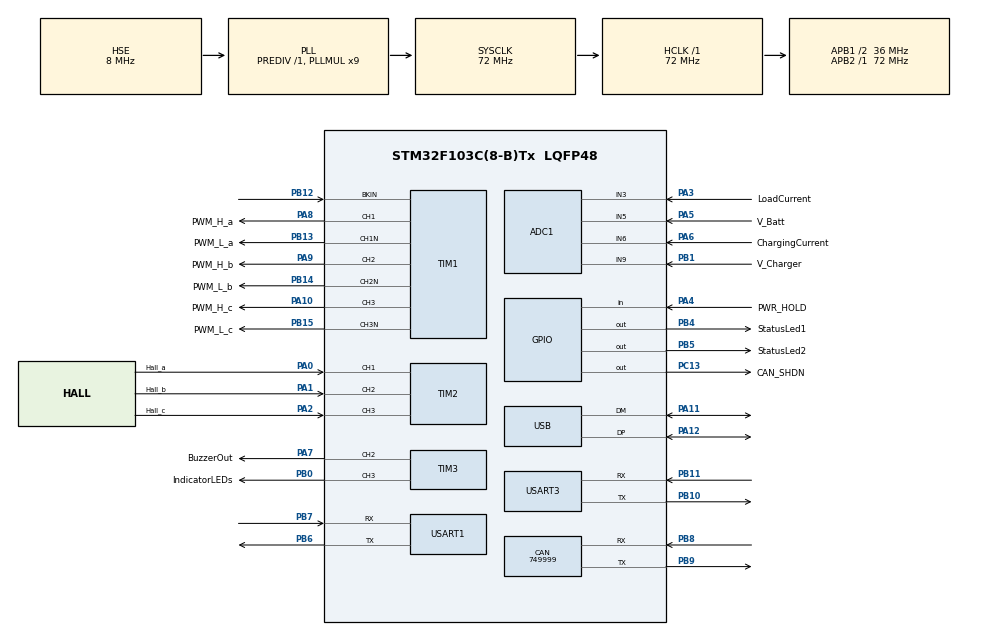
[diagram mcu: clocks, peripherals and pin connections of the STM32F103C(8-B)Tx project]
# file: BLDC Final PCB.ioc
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ADC1.Channel-0\#ChannelRegularConversion=ADC_CHANNEL_5
ADC1.EnableInjectedConversion=ENABLE
ADC1.InjNumberOfConversion=0
ADC1.NbrOfConversionFlag=1
ADC1.Rank-0\#ChannelRegularConversion=1
ADC1.SamplingTime-0\#ChannelRegularConversion=ADC_SAMPLETIME_1CYCLE_5
ADC1.master=1
CAN.CalculateBaudRate=749999
CAN.CalculateTimeBit=1333
CAN.CalculateTimeQuantum=444.44444444444446
Dma.Request0=USART1_RX
Dma.Request1=USART1_TX
Dma.Request2=TIM1_CH1
Dma.Request3=TIM1_CH2
Dma.Request4=TIM1_CH3
Dma.TIM1_CH1.2.Direction=DMA_MEMORY_TO_PERIPH
Dma.TIM1_CH1.2.Instance=DMA1_Channel2
Dma.TIM1_CH1.2.MemDataAlignment=DMA_MDATAALIGN_HALFWORD
Dma.TIM1_CH1.2.MemInc=DMA_MINC_ENABLE
Dma.TIM1_CH1.2.Mode=DMA_NORMAL
Dma.TIM1_CH1.2.PeriphDataAlignment=DMA_PDATAALIGN_HALFWORD
Dma.TIM1_CH1.2.PeriphInc=DMA_PINC_DISABLE
Dma.TIM1_CH1.2.Priority=DMA_PRIORITY_VERY_HIGH
Dma.TIM1_CH2.3.Direction=DMA_MEMORY_TO_PERIPH
Dma.TIM1_CH2.3.Instance=DMA1_Channel3
Dma.TIM1_CH2.3.MemDataAlignment=DMA_MDATAALIGN_HALFWORD
Dma.TIM1_CH2.3.MemInc=DMA_MINC_ENABLE
Dma.TIM1_CH2.3.Mode=DMA_NORMAL
Dma.TIM1_CH2.3.PeriphDataAlignment=DMA_PDATAALIGN_HALFWORD
Dma.TIM1_CH2.3.PeriphInc=DMA_PINC_DISABLE
Dma.TIM1_CH2.3.Priority=DMA_PRIORITY_VERY_HIGH
Dma.TIM1_CH3.4.Direction=DMA_MEMORY_TO_PERIPH
Dma.TIM1_CH3.4.Instance=DMA1_Channel6
Dma.TIM1_CH3.4.MemDataAlignment=DMA_MDATAALIGN_HALFWORD
Dma.TIM1_CH3.4.MemInc=DMA_MINC_ENABLE
Dma.TIM1_CH3.4.Mode=DMA_NORMAL
Dma.TIM1_CH3.4.PeriphDataAlignment=DMA_PDATAALIGN_HALFWORD
Dma.TIM1_CH3.4.PeriphInc=DMA_PINC_DISABLE
Dma.TIM1_CH3.4.Priority=DMA_PRIORITY_VERY_HIGH
Dma.USART1_RX.0.Direction=DMA_PERIPH_TO_MEMORY
Dma.USART1_RX.0.Instance=DMA1_Channel5
Dma.USART1_RX.0.MemDataAlignment=DMA_MDATAALIGN_BYTE
Dma.USART1_RX.0.MemInc=DMA_MINC_ENABLE
Dma.USART1_RX.0.Mode=DMA_NORMAL
Dma.USART1_RX.0.PeriphDataAlignment=DMA_PDATAALIGN_BYTE
Dma.USART1_RX.0.PeriphInc=DMA_PINC_DISABLE
Dma.USART1_RX.0.Priority=DMA_PRIORITY_LOW
Dma.USART1_TX.1.Direction=DMA_MEMORY_TO_PERIPH
Dma.USART1_TX.1.Instance=DMA1_Channel4
Dma.USART1_TX.1.MemDataAlignment=DMA_MDATAALIGN_BYTE
Dma.USART1_TX.1.MemInc=DMA_MINC_ENABLE
Dma.USART1_TX.1.Mode=DMA_NORMAL
Dma.USART1_TX.1.PeriphDataAlignment=DMA_PDATAALIGN_BYTE
Dma.USART1_TX.1.PeriphInc=DMA_PINC_DISABLE
Dma.USART1_TX.1.Priority=DMA_PRIORITY_LOW
Mcu.Family=STM32F1
Mcu.Name=STM32F103C(8-B)Tx
Mcu.Package=LQFP48
NVIC.CAN1_RX1_IRQn=true\:0\:0\:false\:false\:true\:true\:true\:true
NVIC.CAN1_SCE_IRQn=true\:0\:0\:false\:false\:true\:true\:true\:true
NVIC.DMA1_Channel2_IRQn=true\:0\:0\:false\:false\:true\:false\:true\:true
NVIC.DMA1_Channel3_IRQn=true\:0\:0\:false\:false\:true\:false\:true\:true
NVIC.DMA1_Channel4_IRQn=true\:0\:0\:false\:false\:true\:false\:true\:true
NVIC.DMA1_Channel5_IRQn=true\:0\:0\:false\:false\:true\:false\:true\:true
NVIC.DMA1_Channel6_IRQn=true\:0\:0\:false\:false\:true\:false\:true\:true
NVIC.PriorityGroup=NVIC_PRIORITYGROUP_4
NVIC.TIM1_BRK_IRQn=true\:0\:0\:false\:false\:true\:true\:true\:true
NVIC.TIM1_CC_IRQn=true\:0\:0\:false\:false\:true\:true\:true\:true
NVIC.TIM1_TRG_COM_IRQn=true\:0\:0\:false\:false\:true\:true\:true\:true
NVIC.TIM1_UP_IRQn=true\:0\:0\:false\:false\:true\:true\:true\:true
NVIC.TIM2_IRQn=true\:0\:0\:false\:false\:true\:true\:true\:true
NVIC.TIM3_IRQn=true\:0\:0\:false\:false\:true\:true\:true\:true
NVIC.USART1_IRQn=true\:0\:0\:false\:false\:true\:true\:true\:true
NVIC.USART3_IRQn=true\:0\:0\:true\:false\:true\:true\:true\:true
NVIC.USB_HP_CAN1_TX_IRQn=true\:0\:0\:false\:false\:true\:true\:true\:true
NVIC.USB_LP_CAN1_RX0_IRQn=true\:0\:0\:false\:false\:true\:true\:true\:true
PA0-WKUP.GPIO_Label=Hall_a
PA0-WKUP.Signal=S_TIM2_CH1_ETR
PA1.GPIO_Label=Hall_b
PA1.Signal=S_TIM2_CH2
PA10.GPIO_Label=PWM_H_c
PA10.Signal=S_TIM1_CH3
PA11.Mode=Device
PA11.Signal=USB_DM
PA12.Mode=Device
PA12.Signal=USB_DP
PA13.Mode=Serial_Wire
PA13.Signal=SYS_JTMS-SWDIO
PA14.Mode=Serial_Wire
PA14.Signal=SYS_JTCK-SWCLK
PA2.GPIO_Label=Hall_c
PA2.Signal=S_TIM2_CH3
PA3.GPIO_Label=LoadCurrent
PA3.Signal=ADCx_IN3
PA4.GPIO_Label=PWR_HOLD
PA4.Signal=GPIO_Input
PA5.GPIO_Label=V_Batt
PA5.Signal=ADCx_IN5
PA6.GPIO_Label=ChargingCurrent
PA6.Signal=ADCx_IN6
PA7.GPIO_Label=BuzzerOut
PA7.Signal=S_TIM3_CH2
PA8.GPIO_Label=PWM_H_a
PA8.Signal=S_TIM1_CH1
PA9.GPIO_Label=PWM_H_b
PA9.Signal=S_TIM1_CH2
PB0.GPIO_Label=IndicatorLEDs
PB0.Signal=S_TIM3_CH3
PB1.GPIO_Label=V_Charger
PB1.Signal=ADCx_IN9
PB10.Mode=Asynchronous
PB10.Signal=USART3_TX
PB11.Mode=Asynchronous
PB11.Signal=USART3_RX
PB12.Mode=Activate-Break-Input
PB12.Signal=TIM1_BKIN
PB13.GPIO_Label=PWM_L_a
PB13.Mode=PWM Generation1 CH1 CH1N
PB13.Signal=TIM1_CH1N
PB14.GPIO_Label=PWM_L_b
PB14.Mode=PWM Generation2 CH2 CH2N
PB14.Signal=TIM1_CH2N
PB15.GPIO_Label=PWM_L_c
PB15.Mode=PWM Generation3 CH3 CH3N
PB15.Signal=TIM1_CH3N
PB4.GPIO_Label=StatusLed1
PB4.Signal=GPIO_Output
PB5.GPIO_Label=StatusLed2
PB5.Signal=GPIO_Output
PB6.Mode=Asynchronous
PB6.Signal=USART1_TX
PB7.Mode=Asynchronous
PB7.Signal=USART1_RX
PB8.Mode=CAN_Activate
PB8.Signal=CAN_RX
PB9.Mode=CAN_Activate
PB9.Signal=CAN_TX
PC13-TAMPER-RTC.GPIO_Label=CAN_SHDN
PC13-TAMPER-RTC.Signal=GPIO_Output
PD0-OSC_IN.Mode=HSE-External-Oscillator
PD0-OSC_IN.Signal=RCC_OSC_IN
PD1-OSC_OUT.Mode=HSE-External-Oscillator
PD1-OSC_OUT.Signal=RCC_OSC_OUT
ProjectManager.HeapSize=0x200
ProjectManager.StackSize=0x400
ProjectManager.TargetToolchain=MDK-ARM V5.32
RCC.ADCPresc=RCC_ADCPCLK2_DIV6
RCC.AHBFreq_Value=72000000
RCC.APB1CLKDivider=RCC_HCLK_DIV2
RCC.APB1Freq_Value=36000000
RCC.APB1TimFreq_Value=72000000
RCC.APB2Freq_Value=72000000
RCC.APB2TimFreq_Value=72000000
RCC.HCLKFreq_Value=72000000
RCC.PLLMUL=RCC_PLL_MUL9
RCC.PLLSourceVirtual=RCC_PLLSOURCE_HSE
RCC.SYSCLKFreq_VALUE=72000000
RCC.SYSCLKSource=RCC_SYSCLKSOURCE_PLLCLK
RCC.USBFreq_Value=48000000
RCC.USBPrescaler=RCC_USBCLKSOURCE_PLL_DIV1_5
SH.ADCx_IN3.0=ADC1_IN3,IN3
SH.ADCx_IN5.0=ADC1_IN5,IN5
SH.ADCx_IN6.0=ADC1_IN6,IN6
SH.ADCx_IN9.0=ADC1_IN9,IN9
SH.S_TIM1_CH1.0=TIM1_CH1,PWM Generation1 CH1 CH1N
SH.S_TIM1_CH2.0=TIM1_CH2,PWM Generation2 CH2 CH2N
SH.S_TIM1_CH3.0=TIM1_CH3,PWM Generation3 CH3 CH3N
SH.S_TIM2_CH1_ETR.0=TIM2_CH1,Xored_Inputs_Hall_Sensor_Interface
SH.S_TIM2_CH2.0=TIM2_CH2,Xored_Inputs_Hall_Sensor_Interface
SH.S_TIM2_CH3.0=TIM2_CH3,Xored_Inputs_Hall_Sensor_Interface
SH.S_TIM3_CH2.0=TIM3_CH2,PWM Generation2 CH2
SH.S_TIM3_CH3.0=TIM3_CH3,PWM Generation3 CH3
TIM1.Channel-PWM\ Generation1\ CH1\ CH1N=TIM_CHANNEL_1
TIM1.Channel-PWM\ Generation2\ CH2\ CH2N=TIM_CHANNEL_2
TIM1.Channel-PWM\ Generation3\ CH3\ CH3N=TIM_CHANNEL_3
TIM1.DeadTime=10
TIM1.OCMode_PWM-PWM\ Generation1\ CH1\ CH1N=TIM_OCMODE_PWM1
TIM1.OCNIdleState_1=TIM_OCNIDLESTATE_RESET
TIM1.OCNIdleState_2=TIM_OCNIDLESTATE_RESET
TIM1.OCNIdleState_3=TIM_OCNIDLESTATE_RESET
TIM1.OCNPolarity_1=TIM_OCNPOLARITY_HIGH
TIM1.OCNPolarity_2=TIM_OCNPOLARITY_HIGH
TIM1.OCNPolarity_3=TIM_OCNPOLARITY_HIGH
TIM1.OCPolarity_1=TIM_OCPOLARITY_HIGH
TIM1.TIM_MasterSlaveMode=TIM_MASTERSLAVEMODE_DISABLE
TIM2.AutoReloadPreload=TIM_AUTORELOAD_PRELOAD_DISABLE
TIM2.Commutation_Delay=1
TIM2.IC1Filter=12
TIM3.Channel-PWM\ Generation1\ CH1=TIM_CHANNEL_1
TIM3.Channel-PWM\ Generation2\ CH2=TIM_CHANNEL_2
TIM3.Channel-PWM\ Generation3\ CH3=TIM_CHANNEL_3
USART1.VirtualMode=VM_ASYNC
USART3.VirtualMode=VM_ASYNC
VP_CRC_VS_CRC.Mode=CRC_Activate
VP_TIM1_VS_ClockSourceINT.Mode=Internal
VP_TIM1_VS_ClockSourceITR.Mode=TriggerSource_ITR1
VP_TIM1_VS_ControllerModeReset.Mode=Reset Mode
VP_TIM2_VS_ClockSourceINT.Mode=Internal
VP_TIM3_VS_ClockSourceINT.Mode=Internal
VP_TIM3_VS_ClockSourceITR.Mode=TriggerSource_ITR0
VP_TIM3_VS_ControllerModeTrigger.Mode=Trigger Mode
board=custom

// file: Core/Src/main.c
/* USER CODE BEGIN Header */
/**
  ******************************************************************************
  * @file           : main.c
  * @brief          : Main program body
  ******************************************************************************
  * @attention
  *
  * Copyright (c) 2024 STMicroelectronics.
  * All rights reserved.
  *
  * This software is licensed under terms that can be found in the LICENSE file
  * in the root directory of this software component.
  * If no LICENSE file comes with this software, it is provided AS-IS.
  *
  ******************************************************************************
  */
/* USER CODE END Header */
#include "main.h"
#include "..\..\JBU_Lib\Inc\commutator.h"
#include "..\..\JBU_Lib\Inc\voltageCurrent.h"
#include "..\..\JBU_Lib\Inc\powerHold.h"
#include "..\..\JBU_Lib\Inc\onBoardRGBLed.h"
#include "..\..\JBU_Lib\Inc\test.h"
#include "..\..\JBU_Lib\Inc\defines.h"
#include "..\..\JBU_Lib\Inc\hallSensor.h"
#include "..\..\JBU_Lib\Inc\controllerPID.h"

ADC_HandleTypeDef hadc1;

CAN_HandleTypeDef hcan;

CRC_HandleTypeDef hcrc;

TIM_HandleTypeDef htim1;
TIM_HandleTypeDef htim2;
TIM_HandleTypeDef htim3;
DMA_HandleTypeDef hdma_tim1_ch1;
DMA_HandleTypeDef hdma_tim1_ch2;
DMA_HandleTypeDef hdma_tim1_ch3;

UART_HandleTypeDef huart1;
UART_HandleTypeDef huart3;
DMA_HandleTypeDef hdma_usart1_rx;
DMA_HandleTypeDef hdma_usart1_tx;

PCD_HandleTypeDef hpcd_USB_FS;

/* USER CODE BEGIN PV */
int counter = 0;
uint32_t commutePosition = 0x0000;
uint32_t prevMicroSec = 0;
uint32_t currMicroSec = 0;
double hallPeriod  = 0;
uint32_t tempHallPeriod = 0;
int commutation = 0;
int direction = 1; 							// 1= CW , 2 = CCW
uint32_t upTimeMS = 0;

Events event; // struct for events

PowerDetails powerDetails; //struct for motor power details

PID_Controller pid;

int testDutyCycle = 0;

//typedef struct power1 Power;

float battVoltage = 0;
float loadCurrent = 0;
float chrgVoltage = 0;
float chrgCurrent = 0;

int bitIndex = 16;
uint16_t RGBpwmData[24];

/* USER CODE END PV */

void SystemClock_Config(void);
static void MX_GPIO_Init(void);
static void MX_DMA_Init(void);
static void MX_TIM2_Init(void);
static void MX_USART1_UART_Init(void);
static void MX_TIM1_Init(void);
static void MX_CAN_Init(void);
static void MX_USART3_UART_Init(void);
static void MX_ADC1_Init(void);
static void MX_TIM3_Init(void);
static void MX_CRC_Init(void);
static void MX_USB_PCD_Init(void);

/* USER CODE BEGIN 0 */
void HAL_TIMEx_CommutCallback(TIM_HandleTypeDef *htim)
	{
		TIM2->CCR1 = 1;
		uint8_t hall_U, hall_V, hall_W;

		hall_U = HAL_GPIO_ReadPin(Hall_U_GPIO_Port, Hall_U_Pin);
		hall_V = HAL_GPIO_ReadPin(Hall_V_GPIO_Port, Hall_V_Pin);
		hall_W = HAL_GPIO_ReadPin(Hall_W_GPIO_Port, Hall_W_Pin);

		//HallStatus = (hall_U<<2) | (hall_V<<1) | hall_W; //Hall status Convert to  bit number
		//HallStatus = (hall_V<<2) | (hall_W<<1) | hall_U; //Hall status Convert to  bit number
		//HallStatus = (hall_W<<2) | (hall_U<<1) | hall_V; //Hall status Convert to  bit number
		HallStatus = (hall_W<<2) | (hall_V<<1) | hall_U; //Hall status Convert to  bit number*
		//HallStatus = (hall_U<<2) | (hall_W<<1) | hall_V; //Hall status Convert to  bit number
		//HallStatus = (hall_V<<2) | (hall_U<<1) | hall_W; //Hall status Convert to  bit number

		commutePosition = CommuteTable[HallStatus];

		counter++;		//Trigger count.
		Commutation(commutePosition, htim1, direction, testDutyCycle/*pid.output*/);
		commutation++;
		//loadCurrent = SenseLoadCurrent(hadc1);
}

void HAL_TIM_PeriodElapsedCallback(TIM_HandleTypeDef *htim)
	{
		if(htim == &htim2)
		{
		event.upTimeMilli = HAL_GetTick();
		uint32_t sysValue = SysTick->VAL;

		if(event.upTimeMilli != HAL_GetTick())
			{
				event.upTimeMilli = HAL_GetTick();
				sysValue = SysTick->VAL;
			}
			event.upTimeMicro = event.upTimeMilli * 1000 - sysValue/((SysTick->LOAD + 1)/1000);
			event.currHallEvent = event.upTimeMicro;
			event.hallStepPeriodMicro = event.currHallEvent - event.prevHallEvent;
			event.prevHallEvent = event.currHallEvent;
		}

	}

//----------------------------------------------------

//-----------------------------------------------------
/* USER CODE END 0 */

int main(void)

{

  /* MCU Configuration--------------------------------------------------------*/

  /* Reset of all peripherals, Initializes the Flash interface and the Systick. */
  HAL_Init();

  /* Configure the system clock */
  SystemClock_Config();

  /* Initialize all configured peripherals */
  MX_GPIO_Init();
  MX_DMA_Init();
  MX_TIM2_Init();
  MX_USART1_UART_Init();
  MX_TIM1_Init();
  MX_CAN_Init();
  MX_USART3_UART_Init();
  MX_ADC1_Init();
  MX_TIM3_Init();
  MX_CRC_Init();
  MX_USB_PCD_Init();

  /* USER CODE BEGIN 2 */
	//HAL_GPIO_WritePin(PWR_HOLD_GPIO_Port,PWR_HOLD_Pin,GPIO_PIN_SET); //Power hold pin
	powerHold();
	statusOnRGB(htim3, 255, 0, 0, RGBpwmData); // status led

	HAL_TIMEx_HallSensor_Start_IT(&htim2);
	HAL_TIM_Base_Start_IT(&htim2);
	HAL_TIMEx_ConfigCommutEvent_IT(&htim1, TIM_TS_ITR1, TIM_COMMUTATION_TRGI);
	HAL_TIM_Base_Start_IT(&htim1);

	PID_Controller_Init(&pid);

	TIM1->CR1 = 1;
	TIM1->CR2 = 0;
	TIM1->ARR  = 0x00000E00; //AUTO RELOAD VALUE;
	TIM1->CCR1 = 0x000004A0; //COMPARE VALUE(Dutycycle);
	TIM1->CCR2 = 0x000004A0; //COMPARE VALUE(Dutycycle);
	TIM1->CCR3 = 0x000004A0; //COMPARE VALUE(Dutycycle);
	TIM1->BDTR = 0x0000A000; //MAIN OUTPUT ENABLE;
	TIM1->BDTR|= 0x0000A010; //ADDING DEAD TIME 10;
	TIM1->CR2 |= 0x00000005; //CCPC, CCUS = 1 FOR COM EVENT.
	//TIM1-> CCER |=(1 << 11) | (1 << 7) | (1 << 3);		//FOR IR2103S Low side inverted input.

	TIM2->PSC  = 0x0000FFFF; //FOR MAXIMUM PERIOD;
	TIM2->ARR  = 0x0000FFFF; //FOR MAXIMUM PERIOD;
	TIM2->CCR2 = 0x00000001; //CCR2(COMMUTATION DELAY) SHOULD BE >0;

  /* USER CODE END 2 */
/* Infinite loop */
  /* USER CODE BEGIN WHILE */
  while (1)
  {
		powerDetails.motorRPM = CalcRPM(event.hallStepPeriodMicro);// RPM calculation
		PID_Controller_Update(&pid, powerDetails.targetRPM, powerDetails.motorRPM);

		//targetSpeed(pid.output); // Applying PID output as duty cycle.

		//printf("JBU BLDC\n");  //printf through SWV will prevent normal startup

		upTimeMS = HAL_GetTick();
    /* USER CODE END WHILE */
		HAL_GPIO_TogglePin(CAN_SHDN_GPIO_Port, CAN_SHDN_Pin);
		//testSpeed();
		HAL_Delay(1);

		powerDetails.motorRPM = CalcRPM(event.hallStepPeriodMicro);// RPM calculation
		PID_Controller_Update(&pid, powerDetails.targetRPM, powerDetails.motorRPM); //PID control

		//targetSpeed(pid.output); // Applying PID output as duty cycle.

		statusOnRGB(htim3, 5, 0, 0, RGBpwmData);
		powerDetails.loadCurrent = SenseLoadCurrent(hadc1);
		powerDetails.batteryVoltage = SenseBattVoltage(hadc1);
		powerDetails.chrgCurrent = SenseChrgCurrent(hadc1);
		powerDetails.chargerVoltage = SenseChrgVoltage(hadc1);

		//loadCurrent = SenseLoadCurrent(hadc1);
		//battVoltage = SenseBattVoltage(hadc1);
		HAL_GPIO_TogglePin(CAN_SHDN_GPIO_Port, CAN_SHDN_Pin);
		//testSpeed();
		HAL_Delay(1);

		powerDetails.motorRPM = CalcRPM(event.hallStepPeriodMicro);// RPM calculation
		PID_Controller_Update(&pid, powerDetails.targetRPM, powerDetails.motorRPM); //PID control

		//targetSpeed(pid.output); // Applying PID output as duty cycle.

		statusOnRGB(htim3, 0, 5, 0, RGBpwmData);
		//loadCurrent = SenseLoadCurrent(hadc1);
		//chrgCurrent = SenseChrgCurrent(hadc1);
		//chrgVoltage = SenseChrgVoltage(hadc1);
		HAL_GPIO_TogglePin(CAN_SHDN_GPIO_Port, CAN_SHDN_Pin);
		//testSpeed();
		HAL_Delay(1);

		statusOnRGB(htim3, 0, 0, 5, RGBpwmData);

		/* USER CODE END WHILE */

  }
}

void SystemClock_Config(void)
{
  RCC_OscInitTypeDef RCC_OscInitStruct = {0};
  RCC_ClkInitTypeDef RCC_ClkInitStruct = {0};
  RCC_PeriphCLKInitTypeDef PeriphClkInit = {0};

  /** Initializes the RCC Oscillators according to the specified parameters
  * in the RCC_OscInitTypeDef structure.
  */
  RCC_OscInitStruct.OscillatorType = RCC_OSCILLATORTYPE_HSE;
  RCC_OscInitStruct.HSEState = RCC_HSE_ON;
  RCC_OscInitStruct.HSEPredivValue = RCC_HSE_PREDIV_DIV1;
  RCC_OscInitStruct.HSIState = RCC_HSI_ON;
  RCC_OscInitStruct.PLL.PLLState = RCC_PLL_ON;
  RCC_OscInitStruct.PLL.PLLSource = RCC_PLLSOURCE_HSE;
  RCC_OscInitStruct.PLL.PLLMUL = RCC_PLL_MUL9;
  if (HAL_RCC_OscConfig(&RCC_OscInitStruct) != HAL_OK)
  {
    Error_Handler();
  }

  /** Initializes the CPU, AHB and APB buses clocks
  */
  RCC_ClkInitStruct.ClockType = RCC_CLOCKTYPE_HCLK|RCC_CLOCKTYPE_SYSCLK
                              |RCC_CLOCKTYPE_PCLK1|RCC_CLOCKTYPE_PCLK2;
  RCC_ClkInitStruct.SYSCLKSource = RCC_SYSCLKSOURCE_PLLCLK;
  RCC_ClkInitStruct.AHBCLKDivider = RCC_SYSCLK_DIV1;
  RCC_ClkInitStruct.APB1CLKDivider = RCC_HCLK_DIV2;
  RCC_ClkInitStruct.APB2CLKDivider = RCC_HCLK_DIV1;

  if (HAL_RCC_ClockConfig(&RCC_ClkInitStruct, FLASH_LATENCY_2) != HAL_OK)
  {
    Error_Handler();
  }
  PeriphClkInit.PeriphClockSelection = RCC_PERIPHCLK_ADC|RCC_PERIPHCLK_USB;
  PeriphClkInit.AdcClockSelection = RCC_ADCPCLK2_DIV6;
  PeriphClkInit.UsbClockSelection = RCC_USBCLKSOURCE_PLL_DIV1_5;
  if (HAL_RCCEx_PeriphCLKConfig(&PeriphClkInit) != HAL_OK)
  {
    Error_Handler();
  }
}

static void MX_ADC1_Init(void)
{

  //ADC_ChannelConfTypeDef sConfig = {0};

  /** Common config
  */
  hadc1.Instance = ADC1;
  hadc1.Init.ScanConvMode = ADC_SCAN_ENABLE;
  hadc1.Init.ContinuousConvMode = ENABLE;
  hadc1.Init.DiscontinuousConvMode = DISABLE;
  hadc1.Init.ExternalTrigConv = ADC_SOFTWARE_START;
  hadc1.Init.DataAlign = ADC_DATAALIGN_RIGHT;
  hadc1.Init.NbrOfConversion = 1;
  if (HAL_ADC_Init(&hadc1) != HAL_OK)
  {
    Error_Handler();
  }

  /** Configure Regular Channel
  */
  /*sConfig.Channel = ADC_CHANNEL_5;
  sConfig.Rank = ADC_REGULAR_RANK_1;
  sConfig.SamplingTime = ADC_SAMPLETIME_1CYCLE_5;
  if (HAL_ADC_ConfigChannel(&hadc1, &sConfig) != HAL_OK)
  {
    Error_Handler();
  }*/

}

static void MX_CAN_Init(void)
{

  hcan.Instance = CAN1;
  hcan.Init.Prescaler = 16;
  hcan.Init.Mode = CAN_MODE_NORMAL;
  hcan.Init.SyncJumpWidth = CAN_SJW_1TQ;
  hcan.Init.TimeSeg1 = CAN_BS1_1TQ;
  hcan.Init.TimeSeg2 = CAN_BS2_1TQ;
  hcan.Init.TimeTriggeredMode = DISABLE;
  hcan.Init.AutoBusOff = DISABLE;
  hcan.Init.AutoWakeUp = DISABLE;
  hcan.Init.AutoRetransmission = DISABLE;
  hcan.Init.ReceiveFifoLocked = DISABLE;
  hcan.Init.TransmitFifoPriority = DISABLE;
  if (HAL_CAN_Init(&hcan) != HAL_OK)
  {
    Error_Handler();
  }

}

static void MX_CRC_Init(void)
{

  hcrc.Instance = CRC;
  if (HAL_CRC_Init(&hcrc) != HAL_OK)
  {
    Error_Handler();
  }

}

static void MX_TIM1_Init(void)
{

  TIM_ClockConfigTypeDef sClockSourceConfig = {0};
  TIM_SlaveConfigTypeDef sSlaveConfig = {0};
  TIM_MasterConfigTypeDef sMasterConfig = {0};
  TIM_OC_InitTypeDef sConfigOC = {0};
  TIM_BreakDeadTimeConfigTypeDef sBreakDeadTimeConfig = {0};

  htim1.Instance = TIM1;
  htim1.Init.Prescaler = 0;
  htim1.Init.CounterMode = TIM_COUNTERMODE_UP;
  htim1.Init.Period = 65535;
  htim1.Init.ClockDivision = TIM_CLOCKDIVISION_DIV1;
  htim1.Init.RepetitionCounter = 0;
  htim1.Init.AutoReloadPreload = TIM_AUTORELOAD_PRELOAD_DISABLE;
  if (HAL_TIM_Base_Init(&htim1) != HAL_OK)
  {
    Error_Handler();
  }
  sClockSourceConfig.ClockSource = TIM_CLOCKSOURCE_INTERNAL;
  if (HAL_TIM_ConfigClockSource(&htim1, &sClockSourceConfig) != HAL_OK)
  {
    Error_Handler();
  }
  if (HAL_TIM_PWM_Init(&htim1) != HAL_OK)
  {
    Error_Handler();
  }
  sSlaveConfig.SlaveMode = TIM_SLAVEMODE_RESET;
  sSlaveConfig.InputTrigger = TIM_TS_ITR1;
  if (HAL_TIM_SlaveConfigSynchro(&htim1, &sSlaveConfig) != HAL_OK)
  {
    Error_Handler();
  }
  sMasterConfig.MasterOutputTrigger = TIM_TRGO_RESET;
  sMasterConfig.MasterSlaveMode = TIM_MASTERSLAVEMODE_DISABLE;
  if (HAL_TIMEx_MasterConfigSynchronization(&htim1, &sMasterConfig) != HAL_OK)
  {
    Error_Handler();
  }
  sConfigOC.OCMode = TIM_OCMODE_PWM1;
  sConfigOC.Pulse = 0;
	//************************************
	#ifdef TIMER_OUTPUT_ACTIVE_LOW
	sConfigOC.OCPolarity = TIM_OCPOLARITY_LOW;
  sConfigOC.OCNPolarity = TIM_OCNPOLARITY_LOW;
  sConfigOC.OCFastMode = TIM_OCFAST_DISABLE;
  sConfigOC.OCIdleState = TIM_OCIDLESTATE_SET;
  sConfigOC.OCNIdleState = TIM_OCNIDLESTATE_SET;
	#else
  sConfigOC.OCPolarity = TIM_OCPOLARITY_HIGH;
  sConfigOC.OCNPolarity = TIM_OCNPOLARITY_HIGH;
  sConfigOC.OCFastMode = TIM_OCFAST_DISABLE;
  sConfigOC.OCIdleState = TIM_OCIDLESTATE_RESET;
  sConfigOC.OCNIdleState = TIM_OCNIDLESTATE_RESET;
	#endif
	//*************************************
  if (HAL_TIM_PWM_ConfigChannel(&htim1, &sConfigOC, TIM_CHANNEL_1) != HAL_OK)
  {
    Error_Handler();
  }
  if (HAL_TIM_PWM_ConfigChannel(&htim1, &sConfigOC, TIM_CHANNEL_2) != HAL_OK)
  {
    Error_Handler();
  }
  if (HAL_TIM_PWM_ConfigChannel(&htim1, &sConfigOC, TIM_CHANNEL_3) != HAL_OK)
  {
    Error_Handler();
  }
  sBreakDeadTimeConfig.OffStateRunMode = TIM_OSSR_DISABLE;
  sBreakDeadTimeConfig.OffStateIDLEMode = TIM_OSSI_DISABLE;
  sBreakDeadTimeConfig.LockLevel = TIM_LOCKLEVEL_OFF;
  sBreakDeadTimeConfig.DeadTime = 10;
  sBreakDeadTimeConfig.BreakState = TIM_BREAK_ENABLE;
  sBreakDeadTimeConfig.BreakPolarity = TIM_BREAKPOLARITY_HIGH;
  sBreakDeadTimeConfig.AutomaticOutput = TIM_AUTOMATICOUTPUT_DISABLE;
  if (HAL_TIMEx_ConfigBreakDeadTime(&htim1, &sBreakDeadTimeConfig) != HAL_OK)
  {
    Error_Handler();
  }
  HAL_TIM_MspPostInit(&htim1);

}

static void MX_TIM2_Init(void)
{

  TIM_ClockConfigTypeDef sClockSourceConfig = {0};
  TIM_HallSensor_InitTypeDef sConfig = {0};
  TIM_MasterConfigTypeDef sMasterConfig = {0};

  htim2.Instance = TIM2;
  htim2.Init.Prescaler = 0;
  htim2.Init.CounterMode = TIM_COUNTERMODE_UP;
  htim2.Init.Period = 65535;
  htim2.Init.ClockDivision = TIM_CLOCKDIVISION_DIV1;
  htim2.Init.AutoReloadPreload = TIM_AUTORELOAD_PRELOAD_DISABLE;
  if (HAL_TIM_Base_Init(&htim2) != HAL_OK)
  {
    Error_Handler();
  }
  sClockSourceConfig.ClockSource = TIM_CLOCKSOURCE_INTERNAL;
  if (HAL_TIM_ConfigClockSource(&htim2, &sClockSourceConfig) != HAL_OK)
  {
    Error_Handler();
  }
  sConfig.IC1Polarity = TIM_ICPOLARITY_RISING;
  sConfig.IC1Prescaler = TIM_ICPSC_DIV1;
  sConfig.IC1Filter = 12;
  sConfig.Commutation_Delay = 10;
  if (HAL_TIMEx_HallSensor_Init(&htim2, &sConfig) != HAL_OK)
  {
    Error_Handler();
  }
  sMasterConfig.MasterOutputTrigger = TIM_TRGO_OC2REF;
  sMasterConfig.MasterSlaveMode = TIM_MASTERSLAVEMODE_DISABLE;
  if (HAL_TIMEx_MasterConfigSynchronization(&htim2, &sMasterConfig) != HAL_OK)
  {
    Error_Handler();
  }

}

static void MX_TIM3_Init(void)
{

  TIM_ClockConfigTypeDef sClockSourceConfig = {0};
  TIM_SlaveConfigTypeDef sSlaveConfig = {0};
  TIM_MasterConfigTypeDef sMasterConfig = {0};
  TIM_OC_InitTypeDef sConfigOC = {0};

  htim3.Instance = TIM3;
  htim3.Init.Prescaler = 0;
  htim3.Init.CounterMode = TIM_COUNTERMODE_UP;
  htim3.Init.Period = 65535;
  htim3.Init.ClockDivision = TIM_CLOCKDIVISION_DIV1;
  htim3.Init.AutoReloadPreload = TIM_AUTORELOAD_PRELOAD_DISABLE;
  if (HAL_TIM_Base_Init(&htim3) != HAL_OK)
  {
    Error_Handler();
  }
  sClockSourceConfig.ClockSource = TIM_CLOCKSOURCE_INTERNAL;
  if (HAL_TIM_ConfigClockSource(&htim3, &sClockSourceConfig) != HAL_OK)
  {
    Error_Handler();
  }
  if (HAL_TIM_PWM_Init(&htim3) != HAL_OK)
  {
    Error_Handler();
  }
  sSlaveConfig.SlaveMode = TIM_SLAVEMODE_TRIGGER;
  sSlaveConfig.InputTrigger = TIM_TS_ITR0;
  if (HAL_TIM_SlaveConfigSynchro(&htim3, &sSlaveConfig) != HAL_OK)
  {
    Error_Handler();
  }
  sMasterConfig.MasterOutputTrigger = TIM_TRGO_RESET;
  sMasterConfig.MasterSlaveMode = TIM_MASTERSLAVEMODE_DISABLE;
  if (HAL_TIMEx_MasterConfigSynchronization(&htim3, &sMasterConfig) != HAL_OK)
  {
    Error_Handler();
  }
  sConfigOC.OCMode = TIM_OCMODE_PWM1;
  sConfigOC.Pulse = 0;
  sConfigOC.OCPolarity = TIM_OCPOLARITY_HIGH;
  sConfigOC.OCFastMode = TIM_OCFAST_DISABLE;
  if (HAL_TIM_PWM_ConfigChannel(&htim3, &sConfigOC, TIM_CHANNEL_2) != HAL_OK)
  {
    Error_Handler();
  }
  if (HAL_TIM_PWM_ConfigChannel(&htim3, &sConfigOC, TIM_CHANNEL_3) != HAL_OK)
  {
    Error_Handler();
  }
  HAL_TIM_MspPostInit(&htim3);

}

static void MX_USART1_UART_Init(void)
{

  huart1.Instance = USART1;
  huart1.Init.BaudRate = 115200;
  huart1.Init.WordLength = UART_WORDLENGTH_8B;
  huart1.Init.StopBits = UART_STOPBITS_1;
  huart1.Init.Parity = UART_PARITY_NONE;
  huart1.Init.Mode = UART_MODE_TX_RX;
  huart1.Init.HwFlowCtl = UART_HWCONTROL_NONE;
  huart1.Init.OverSampling = UART_OVERSAMPLING_16;
  if (HAL_UART_Init(&huart1) != HAL_OK)
  {
    Error_Handler();
  }

}

static void MX_USART3_UART_Init(void)
{

  huart3.Instance = USART3;
  huart3.Init.BaudRate = 115200;
  huart3.Init.WordLength = UART_WORDLENGTH_8B;
  huart3.Init.StopBits = UART_STOPBITS_1;
  huart3.Init.Parity = UART_PARITY_NONE;
  huart3.Init.Mode = UART_MODE_TX_RX;
  huart3.Init.HwFlowCtl = UART_HWCONTROL_NONE;
  huart3.Init.OverSampling = UART_OVERSAMPLING_16;
  if (HAL_UART_Init(&huart3) != HAL_OK)
  {
    Error_Handler();
  }

}

static void MX_USB_PCD_Init(void)
{

  hpcd_USB_FS.Instance = USB;
  hpcd_USB_FS.Init.dev_endpoints = 8;
  hpcd_USB_FS.Init.speed = PCD_SPEED_FULL;
  hpcd_USB_FS.Init.low_power_enable = DISABLE;
  hpcd_USB_FS.Init.lpm_enable = DISABLE;
  hpcd_USB_FS.Init.battery_charging_enable = DISABLE;
  if (HAL_PCD_Init(&hpcd_USB_FS) != HAL_OK)
  {
    Error_Handler();
  }

}

static void MX_DMA_Init(void)
{

  /* DMA controller clock enable */
  __HAL_RCC_DMA1_CLK_ENABLE();

  /* DMA interrupt init */
  /* DMA1_Channel2_IRQn interrupt configuration */
  HAL_NVIC_SetPriority(DMA1_Channel2_IRQn, 0, 0);
  HAL_NVIC_EnableIRQ(DMA1_Channel2_IRQn);
  /* DMA1_Channel3_IRQn interrupt configuration */
  HAL_NVIC_SetPriority(DMA1_Channel3_IRQn, 0, 0);
  HAL_NVIC_EnableIRQ(DMA1_Channel3_IRQn);
  /* DMA1_Channel4_IRQn interrupt configuration */
  HAL_NVIC_SetPriority(DMA1_Channel4_IRQn, 0, 0);
  HAL_NVIC_EnableIRQ(DMA1_Channel4_IRQn);
  /* DMA1_Channel5_IRQn interrupt configuration */
  HAL_NVIC_SetPriority(DMA1_Channel5_IRQn, 0, 0);
  HAL_NVIC_EnableIRQ(DMA1_Channel5_IRQn);
  /* DMA1_Channel6_IRQn interrupt configuration */
  HAL_NVIC_SetPriority(DMA1_Channel6_IRQn, 0, 0);
  HAL_NVIC_EnableIRQ(DMA1_Channel6_IRQn);

}

static void MX_GPIO_Init(void)
{
  GPIO_InitTypeDef GPIO_InitStruct = {0};

  /* GPIO Ports Clock Enable */
  __HAL_RCC_GPIOC_CLK_ENABLE();
  __HAL_RCC_GPIOD_CLK_ENABLE();
  __HAL_RCC_GPIOA_CLK_ENABLE();
  __HAL_RCC_GPIOB_CLK_ENABLE();

  /*Configure GPIO pin Output Level */
  HAL_GPIO_WritePin(CAN_SHDN_GPIO_Port, CAN_SHDN_Pin, GPIO_PIN_RESET);

  /*Configure GPIO pin Output Level */
  HAL_GPIO_WritePin(GPIOB, StatusLed1_Pin|StatusLed2_Pin, GPIO_PIN_RESET);

  /*Configure GPIO pin : CAN_SHDN_Pin */
  GPIO_InitStruct.Pin = CAN_SHDN_Pin;
  GPIO_InitStruct.Mode = GPIO_MODE_OUTPUT_PP;
  GPIO_InitStruct.Pull = GPIO_NOPULL;
  GPIO_InitStruct.Speed = GPIO_SPEED_FREQ_LOW;
  HAL_GPIO_Init(CAN_SHDN_GPIO_Port, &GPIO_InitStruct);

  /*Configure GPIO pins : StatusLed1_Pin StatusLed2_Pin */
  GPIO_InitStruct.Pin = StatusLed1_Pin|StatusLed2_Pin;
  GPIO_InitStruct.Mode = GPIO_MODE_OUTPUT_PP;
  GPIO_InitStruct.Pull = GPIO_NOPULL;
  GPIO_InitStruct.Speed = GPIO_SPEED_FREQ_LOW;
  HAL_GPIO_Init(GPIOB, &GPIO_InitStruct);

}

void Error_Handler(void)
{
  __disable_irq();
  while (1)
  {
  }
}
